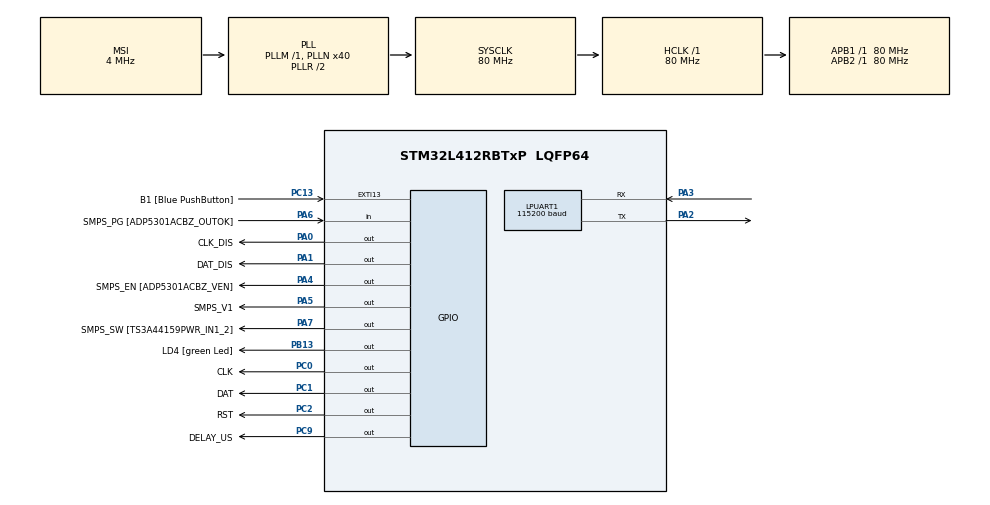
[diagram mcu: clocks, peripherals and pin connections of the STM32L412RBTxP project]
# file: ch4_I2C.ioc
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LPUART1.BaudRate=115200
LPUART1.WordLength=UART_WORDLENGTH_8B
Mcu.Family=STM32L4
Mcu.Name=STM32L412RBTxP
Mcu.Package=LQFP64
NVIC.PriorityGroup=NVIC_PRIORITYGROUP_4
PA0.GPIO_Label=CLK_DIS
PA0.GPIO_ModeDefaultOutputPP=GPIO_MODE_OUTPUT_OD
PA0.GPIO_PuPd=GPIO_PULLUP
PA0.GPIO_Speed=GPIO_SPEED_FREQ_LOW
PA0.PinState=GPIO_PIN_SET
PA0.Signal=GPIO_Output
PA1.GPIO_Label=DAT_DIS
PA1.GPIO_ModeDefaultOutputPP=GPIO_MODE_OUTPUT_OD
PA1.GPIO_PuPd=GPIO_PULLUP
PA1.GPIO_Speed=GPIO_SPEED_FREQ_LOW
PA1.PinState=GPIO_PIN_SET
PA1.Signal=GPIO_Output
PA13\ (JTMS/SWDIO).GPIO_Label=TMS
PA13\ (JTMS/SWDIO).Mode=Serial_Wire
PA13\ (JTMS/SWDIO).Signal=SYS_JTMS-SWDIO
PA14\ (JTCK/SWCLK).GPIO_Label=TCK
PA14\ (JTCK/SWCLK).Mode=Serial_Wire
PA14\ (JTCK/SWCLK).Signal=SYS_JTCK-SWCLK
PA2.Mode=Asynchronous
PA2.Signal=LPUART1_TX
PA3.Mode=Asynchronous
PA3.Signal=LPUART1_RX
PA4.GPIO_Label=SMPS_EN [ADP5301ACBZ_VEN]
PA4.Signal=GPIO_Output
PA5.GPIO_Label=SMPS_V1
PA5.GPIO_ModeDefaultOutputPP=GPIO_MODE_OUTPUT_PP
PA5.GPIO_PuPd=GPIO_NOPULL
PA5.GPIO_Speed=GPIO_SPEED_FREQ_LOW
PA5.Signal=GPIO_Output
PA6.GPIO_Label=SMPS_PG [ADP5301ACBZ_OUTOK]
PA6.GPIO_PuPd=GPIO_PULLUP
PA6.Signal=GPIO_Input
PA7.GPIO_Label=SMPS_SW [TS3A44159PWR_IN1_2]
PA7.Signal=GPIO_Output
PB13.GPIO_Label=LD4 [green Led]
PB13.Signal=GPIO_Output
PB3\ (JTDO/TRACESWO).GPIO_Label=SWO
PB3\ (JTDO/TRACESWO).Signal=SYS_JTDO-SWO
PC0.GPIO_Label=CLK
PC0.GPIO_PuPd=GPIO_NOPULL
PC0.Signal=GPIO_Output
PC1.GPIO_Label=DAT
PC1.Signal=GPIO_Output
PC13.GPIO_Label=B1 [Blue PushButton]
PC13.GPIO_ModeDefaultEXTI=GPIO_MODE_IT_FALLING
PC13.GPIO_PuPd=GPIO_NOPULL
PC13.Signal=GPXTI13
PC14-OSC32_IN\ (PC14).Mode=LSE-External-Oscillator
PC14-OSC32_IN\ (PC14).Signal=RCC_OSC32_IN
PC15-OSC32_OUT\ (PC15).Mode=LSE-External-Oscillator
PC15-OSC32_OUT\ (PC15).Signal=RCC_OSC32_OUT
PC2.GPIO_Label=RST
PC2.GPIO_PuPd=GPIO_PULLDOWN
PC2.Signal=GPIO_Output
PC9.GPIO_Label=DELAY_US
PC9.Signal=GPIO_Output
PH0-OSC_IN\ (PH0).GPIO_Label=MCO
PH0-OSC_IN\ (PH0).Mode=HSE-External-Clock-Source
PH0-OSC_IN\ (PH0).Signal=RCC_OSC_IN
PH1-OSC_OUT\ (PH1).Signal=RCC_OSC_OUT
ProjectManager.HeapSize=0x200
ProjectManager.StackSize=0x400
ProjectManager.TargetToolchain=STM32CubeIDE
RCC.ADCFreq_Value=80000000
RCC.AHBFreq_Value=80000000
RCC.APB1Freq_Value=80000000
RCC.APB1TimFreq_Value=80000000
RCC.APB2Freq_Value=80000000
RCC.APB2TimFreq_Value=80000000
RCC.CortexFreq_Value=80000000
RCC.FLatency=FLASH_LATENCY_4
RCC.HCLKFreq_Value=80000000
RCC.HSE_VALUE=8000000
RCC.HSI48_VALUE=48000000
RCC.HSICalibrationValue=64
RCC.HSI_VALUE=16000000
RCC.MSIAutoCalibration=DISABLED
RCC.MSI_VALUE=4000000
RCC.PLLN=40
RCC.PREFETCH_ENABLE=1
RCC.SYSCLKFreq_VALUE=80000000
RCC.SYSCLKSource=RCC_SYSCLKSOURCE_PLLCLK
RCC.USBFreq_Value=4000000
RCC.VCOOutputFreq_Value=160000000
board=NUCLEO-L412RB-P

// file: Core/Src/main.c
/* USER CODE BEGIN Header */
/**
 ******************************************************************************
 * @file           : main.c
 * @brief          : Main program body
 ******************************************************************************
 * @attention
 *
 * Copyright (c) 2026 STMicroelectronics.
 * All rights reserved.
 *
 * This software is licensed under terms that can be found in the LICENSE file
 * in the root directory of this software component.
 * If no LICENSE file comes with this software, it is provided AS-IS.
 *
 ******************************************************************************
 */
/* USER CODE END Header */
#include "main.h"

/* USER CODE BEGIN Includes */
// add
#include <stdio.h>
#include <stm32l412xx.h>
#include <string.h>
#include <unistd.h>

#include "ds1302.h"
#include "tm1637.h"
/* USER CODE END Includes */

UART_HandleTypeDef hlpuart1;

void SystemClock_Config(void);
static void MX_GPIO_Init(void);
static void MX_LPUART1_UART_Init(void);

/* USER CODE BEGIN 0 */

// UART로 출력 보내기 위한 함수
int _write(int file, char *ptr, int len) {
  if (file == STDOUT_FILENO) {
    HAL_UART_Transmit(&hlpuart1, (uint8_t *)ptr, len, HAL_MAX_DELAY);
    return len;
  }
  return -1;
}

// 함수 선언 -> ds1302.h 이동

/* USER CODE END 0 */

int main(void) {

  /* MCU Configuration--------------------------------------------------------*/

  /* Reset of all peripherals, Initializes the Flash interface and the Systick.
   */
  HAL_Init();

  /* Configure the system clock */
  SystemClock_Config();

  /* Initialize all configured peripherals */
  MX_GPIO_Init();
  MX_LPUART1_UART_Init();
  /* USER CODE BEGIN 2 */

  // printf("UART Test \r\n");

  // 핀 초기화 (RST , CLK )
  CE_OFF;
  CLK_OFF;

  // uart 테스트 출력
  printf("DS1302 Test Start...\r\n");

  DS1302_WriteReg(0x86, 0x04);
  printf("test1 -date : %#x \r\n", DS1302_ReadReg(0x87));

  // TM1637 테스트 출력
  TM1637_Start();
  // cmd1 data
  TM1637_WriteByte(0x40);

  // cmd2 data
  TM1637_Stop();

  TM1637_Start();
  TM1637_WriteByte(0xC0);

  // data 1
  TM1637_WriteByte(0x01);

  // data 2,3,4
  TM1637_WriteByte(0x03);
  TM1637_WriteByte(0x03);
  TM1637_WriteByte(0x03);
  // cmd3 data
  TM1637_Start();
  TM1637_WriteByte(0x87);
  TM1637_Stop();

  // 구조체 테스트
  rtc_time now;
  // now.sec = 10;
  // printf("struct sec test : %d \r\n", now.sec);

  // 쓰기 방지 설정 가능성
  // // WRITE-PROTECT BIT 설정이 있음
  Enable_Write;
  // 초시계 활성화
  printf("Clock init \r\n");
  Enable_Clock;

  // 24시간제
  printf("24H \r\n");
  Set_24H;

  // 날짜 시각 초기회
  // 26년 1월 28일 17시 00분 수요일(3)
  // TimeSet_v1700;

  /* USER CODE END 2 */

  /* Infinite loop */
  /* USER CODE BEGIN WHILE */
  while (1) {

    // 초단위 출력
    printf("\r\n");

    printf("Burst Mode \r\n");
    burst_mode(&now);
    burst_mode_printf(&now);

    HAL_Delay(1000);
    /* USER CODE END WHILE */

  }
}

void SystemClock_Config(void) {
  RCC_OscInitTypeDef RCC_OscInitStruct = {0};
  RCC_ClkInitTypeDef RCC_ClkInitStruct = {0};

  /** Configure the main internal regulator output voltage
   */
  if (HAL_PWREx_ControlVoltageScaling(PWR_REGULATOR_VOLTAGE_SCALE1) != HAL_OK) {
    Error_Handler();
  }

  /** Initializes the RCC Oscillators according to the specified parameters
   * in the RCC_OscInitTypeDef structure.
   */
  RCC_OscInitStruct.OscillatorType = RCC_OSCILLATORTYPE_MSI;
  RCC_OscInitStruct.MSIState = RCC_MSI_ON;
  RCC_OscInitStruct.MSICalibrationValue = 0;
  RCC_OscInitStruct.MSIClockRange = RCC_MSIRANGE_6;
  RCC_OscInitStruct.PLL.PLLState = RCC_PLL_ON;
  RCC_OscInitStruct.PLL.PLLSource = RCC_PLLSOURCE_MSI;
  RCC_OscInitStruct.PLL.PLLM = 1;
  RCC_OscInitStruct.PLL.PLLN = 40;
  RCC_OscInitStruct.PLL.PLLQ = RCC_PLLQ_DIV2;
  RCC_OscInitStruct.PLL.PLLR = RCC_PLLR_DIV2;
  if (HAL_RCC_OscConfig(&RCC_OscInitStruct) != HAL_OK) {
    Error_Handler();
  }

  /** Initializes the CPU, AHB and APB buses clocks
   */
  RCC_ClkInitStruct.ClockType = RCC_CLOCKTYPE_HCLK | RCC_CLOCKTYPE_SYSCLK |
                                RCC_CLOCKTYPE_PCLK1 | RCC_CLOCKTYPE_PCLK2;
  RCC_ClkInitStruct.SYSCLKSource = RCC_SYSCLKSOURCE_PLLCLK;
  RCC_ClkInitStruct.AHBCLKDivider = RCC_SYSCLK_DIV1;
  RCC_ClkInitStruct.APB1CLKDivider = RCC_HCLK_DIV1;
  RCC_ClkInitStruct.APB2CLKDivider = RCC_HCLK_DIV1;

  if (HAL_RCC_ClockConfig(&RCC_ClkInitStruct, FLASH_LATENCY_4) != HAL_OK) {
    Error_Handler();
  }
}

static void MX_LPUART1_UART_Init(void) {

  hlpuart1.Instance = LPUART1;
  hlpuart1.Init.BaudRate = 115200;
  hlpuart1.Init.WordLength = UART_WORDLENGTH_8B;
  hlpuart1.Init.StopBits = UART_STOPBITS_1;
  hlpuart1.Init.Parity = UART_PARITY_NONE;
  hlpuart1.Init.Mode = UART_MODE_TX_RX;
  hlpuart1.Init.HwFlowCtl = UART_HWCONTROL_NONE;
  hlpuart1.Init.OneBitSampling = UART_ONE_BIT_SAMPLE_DISABLE;
  hlpuart1.AdvancedInit.AdvFeatureInit = UART_ADVFEATURE_NO_INIT;
  if (HAL_UART_Init(&hlpuart1) != HAL_OK) {
    Error_Handler();
  }
}

static void MX_GPIO_Init(void) {
  GPIO_InitTypeDef GPIO_InitStruct = {0};

  /* GPIO Ports Clock Enable */
  __HAL_RCC_GPIOC_CLK_ENABLE();
  __HAL_RCC_GPIOH_CLK_ENABLE();
  __HAL_RCC_GPIOA_CLK_ENABLE();
  __HAL_RCC_GPIOB_CLK_ENABLE();

  /*Configure GPIO pin Output Level */
  HAL_GPIO_WritePin(GPIOC, CLK_Pin | DAT_Pin | RST_Pin | DELAY_US_Pin,
                    GPIO_PIN_RESET);

  /*Configure GPIO pin Output Level */
  HAL_GPIO_WritePin(GPIOA, CLK_DIS_Pin | DAT_DIS_Pin, GPIO_PIN_SET);

  /*Configure GPIO pin Output Level */
  HAL_GPIO_WritePin(GPIOA, SMPS_EN_Pin | SMPS_V1_Pin | SMPS_SW_Pin,
                    GPIO_PIN_RESET);

  /*Configure GPIO pin Output Level */
  HAL_GPIO_WritePin(LD4_GPIO_Port, LD4_Pin, GPIO_PIN_RESET);

  /*Configure GPIO pin : B1_Pin */
  GPIO_InitStruct.Pin = B1_Pin;
  GPIO_InitStruct.Mode = GPIO_MODE_IT_FALLING;
  GPIO_InitStruct.Pull = GPIO_NOPULL;
  HAL_GPIO_Init(B1_GPIO_Port, &GPIO_InitStruct);

  /*Configure GPIO pins : CLK_Pin DAT_Pin DELAY_US_Pin */
  GPIO_InitStruct.Pin = CLK_Pin | DAT_Pin | DELAY_US_Pin;
  GPIO_InitStruct.Mode = GPIO_MODE_OUTPUT_PP;
  GPIO_InitStruct.Pull = GPIO_NOPULL;
  GPIO_InitStruct.Speed = GPIO_SPEED_FREQ_LOW;
  HAL_GPIO_Init(GPIOC, &GPIO_InitStruct);

  /*Configure GPIO pin : RST_Pin */
  GPIO_InitStruct.Pin = RST_Pin;
  GPIO_InitStruct.Mode = GPIO_MODE_OUTPUT_PP;
  GPIO_InitStruct.Pull = GPIO_PULLDOWN;
  GPIO_InitStruct.Speed = GPIO_SPEED_FREQ_LOW;
  HAL_GPIO_Init(RST_GPIO_Port, &GPIO_InitStruct);

  /*Configure GPIO pins : CLK_DIS_Pin DAT_DIS_Pin */
  GPIO_InitStruct.Pin = CLK_DIS_Pin | DAT_DIS_Pin;
  GPIO_InitStruct.Mode = GPIO_MODE_OUTPUT_PP;
  GPIO_InitStruct.Pull = GPIO_PULLUP;
  GPIO_InitStruct.Speed = GPIO_SPEED_FREQ_LOW;
  HAL_GPIO_Init(GPIOA, &GPIO_InitStruct);

  /*Configure GPIO pins : SMPS_EN_Pin SMPS_V1_Pin SMPS_SW_Pin */
  GPIO_InitStruct.Pin = SMPS_EN_Pin | SMPS_V1_Pin | SMPS_SW_Pin;
  GPIO_InitStruct.Mode = GPIO_MODE_OUTPUT_PP;
  GPIO_InitStruct.Pull = GPIO_NOPULL;
  GPIO_InitStruct.Speed = GPIO_SPEED_FREQ_LOW;
  HAL_GPIO_Init(GPIOA, &GPIO_InitStruct);

  /*Configure GPIO pin : SMPS_PG_Pin */
  GPIO_InitStruct.Pin = SMPS_PG_Pin;
  GPIO_InitStruct.Mode = GPIO_MODE_INPUT;
  GPIO_InitStruct.Pull = GPIO_PULLUP;
  HAL_GPIO_Init(SMPS_PG_GPIO_Port, &GPIO_InitStruct);

  /*Configure GPIO pin : LD4_Pin */
  GPIO_InitStruct.Pin = LD4_Pin;
  GPIO_InitStruct.Mode = GPIO_MODE_OUTPUT_PP;
  GPIO_InitStruct.Pull = GPIO_NOPULL;
  GPIO_InitStruct.Speed = GPIO_SPEED_FREQ_LOW;
  HAL_GPIO_Init(LD4_GPIO_Port, &GPIO_InitStruct);

}

void Error_Handler(void) {
  __disable_irq();
  while (1) {
  }
}
#ifdef USE_FULL_ASSERT
/**
 * @brief  Reports the name of the source file and the source line number
 *         where the assert_param error has occurred.
 * @param  file: pointer to the source file name
 * @param  line: assert_param error line source number
 * @retval None
 */
void assert_failed(uint8_t *file, uint32_t line) {
  /* USER CODE BEGIN 6 */
  /* User can add his own implementation to report the file name and line
     number, ex: printf("Wrong parameters value: file %s on line %d\r\n", file,
     line) */
  /* USER CODE END 6 */
}
#endif /* USE_FULL_ASSERT */
